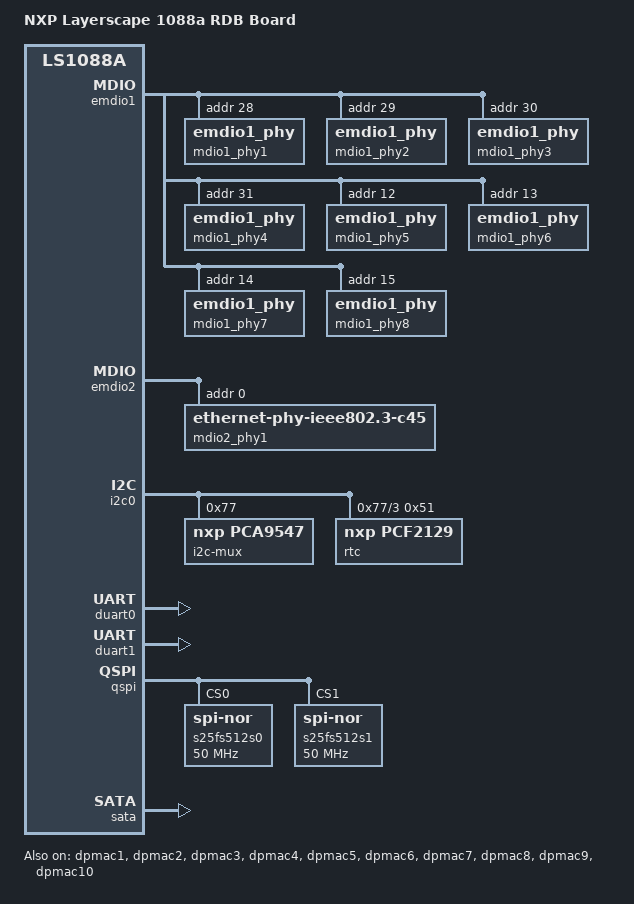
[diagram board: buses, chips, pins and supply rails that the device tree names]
// SPDX-License-Identifier: GPL-2.0+ OR X11
/*
 * NXP ls1088a RDB board device tree source
 *
 * Copyright 2017 NXP
 */

/dts-v1/;

#include "fsl-ls1088a.dtsi"

/ {
	model = "NXP Layerscape 1088a RDB Board";
	compatible = "fsl,ls1088a-rdb", "fsl,ls1088a";
	aliases {
		spi0 = &qspi;
	};
};

&dpmac1 {
	status = "okay";
	phy-connection-type = "10gbase-r";
};

&dpmac2 {
	status = "okay";
	phy-handle = <&mdio2_phy1>;
	phy-connection-type = "10gbase-r";
};

&dpmac3 {
	status = "okay";
	phy-handle = <&mdio1_phy5>;
	phy-connection-type = "qsgmii";
};

&dpmac4 {
	status = "okay";
	phy-handle = <&mdio1_phy6>;
	phy-connection-type = "qsgmii";
};

&dpmac5 {
	status = "okay";
	phy-handle = <&mdio1_phy7>;
	phy-connection-type = "qsgmii";
};

&dpmac6 {
	status = "okay";
	phy-handle = <&mdio1_phy8>;
	phy-connection-type = "qsgmii";
};

&dpmac7 {
	status = "okay";
	phy-handle = <&mdio1_phy1>;
	phy-connection-type = "qsgmii";
};

&dpmac8 {
	status = "okay";
	phy-handle = <&mdio1_phy2>;
	phy-connection-type = "qsgmii";
};

&dpmac9 {
	status = "okay";
	phy-handle = <&mdio1_phy3>;
	phy-connection-type = "qsgmii";
};

&dpmac10 {
	status = "okay";
	phy-handle = <&mdio1_phy4>;
	phy-connection-type = "qsgmii";
};

&emdio1 {
	status = "okay";

	/* Freescale F104 PHY1 */
	mdio1_phy1: emdio1_phy@1 {
		reg = <0x1c>;
		};
	mdio1_phy2: emdio1_phy@2 {
		reg = <0x1d>;
		};
	mdio1_phy3: emdio1_phy@3 {
		reg = <0x1e>;
		};
	mdio1_phy4: emdio1_phy@4 {
		reg = <0x1f>;
	};

	/* F104 PHY2 */
	mdio1_phy5: emdio1_phy@5 {
		reg = <0x0c>;
	};
	mdio1_phy6: emdio1_phy@6 {
		reg = <0x0d>;
	};
	mdio1_phy7: emdio1_phy@7 {
		reg = <0x0e>;
	};
	mdio1_phy8: emdio1_phy@8 {
		reg = <0x0f>;
	};
};

&emdio2 {
	status = "okay";

	/* Aquantia AQR105 10G PHY */
	mdio2_phy1: emdio2_phy@1 {
		compatible = "ethernet-phy-ieee802.3-c45";
		interrupts = <0 2 0x4>;
		reg = <0x0>;
	};
};

&i2c0 {
	status = "okay";
	bootph-all;

	i2c-mux@77 {
		compatible = "nxp,pca9547";
		reg = <0x77>;
		#address-cells = <1>;
		#size-cells = <0>;

		i2c@3 {
			#address-cells = <1>;
			#size-cells = <0>;
			reg = <0x3>;

			rtc@51 {
				compatible = "nxp,pcf2129";
				reg = <0x51>;
			};
		};
	};
};

&duart0 {
	status = "okay";
};

&duart1 {
	status = "okay";
};

&qspi {
	status = "okay";

	s25fs512s0: flash@0 {
		#address-cells = <1>;
		#size-cells = <1>;
		compatible = "jedec,spi-nor";
		spi-max-frequency = <50000000>;
		reg = <0>;
	};

	s25fs512s1: flash@1 {
		#address-cells = <1>;
		#size-cells = <1>;
		compatible = "jedec,spi-nor";
		spi-max-frequency = <50000000>;
		reg = <1>;
	 };
};

&sata {
	status = "okay";
};
